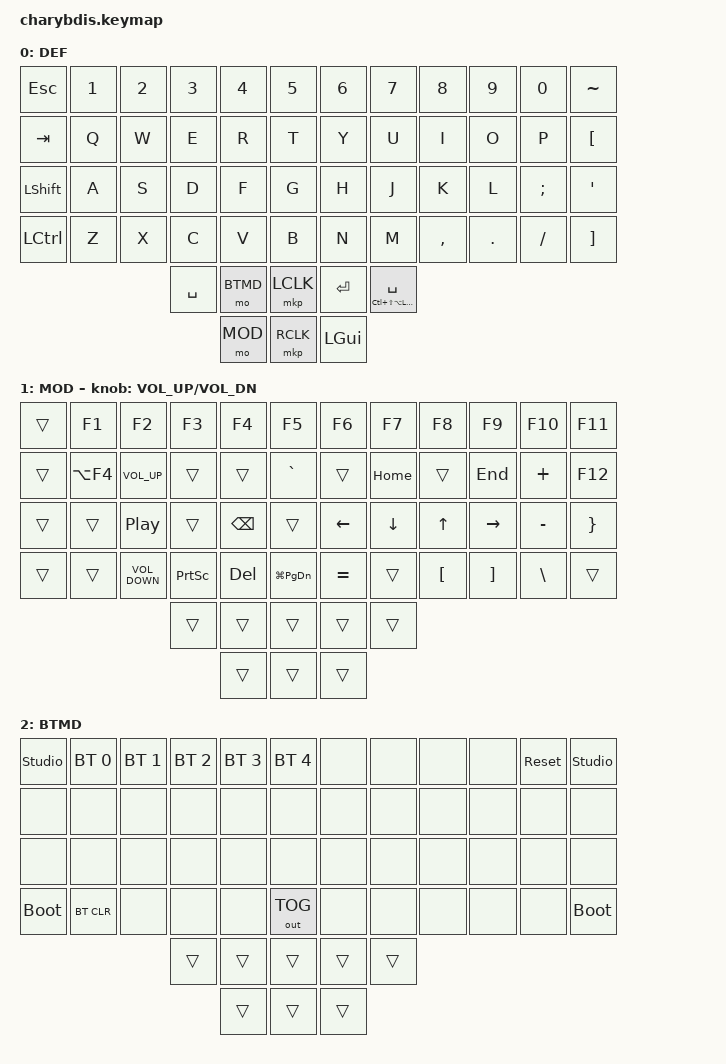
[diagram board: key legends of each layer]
#include <behaviors.dtsi>
#include <input/processors.dtsi>
#include <dt-bindings/zmk/bt.h>
#include <dt-bindings/zmk/keys.h>
#include <dt-bindings/zmk/mouse.h>
#include <dt-bindings/zmk/outputs.h>
#include <dt-bindings/zmk/input_transform.h>
#include <behaviors/mouse_keys.dtsi>
#include <dt-bindings/zmk/ext_power.h>
#include "macros.dtsi"

// / {
//     chosen { zmk,matrix_transform = &default_transform; };
// };

/ {
    /* input config for mouse move mode */
//

//  trackball_listener {
//      compatible = "zmk,input-listener";
//      device = <&trackball>;
//      //input-processors = <&zip_xy_transform (INPUT_TRANSFORM_XY_SWAP | INPUT_TRANSFORM_X_INVERT | INPUT_TRANSFORM_Y_INVERT)>;	
//      //layers = <0 2>;
//      //scale-multiplier = <1>;
//      //scale-divisor = <2>;

//      // bindings = <&ib_toggle_layer 7>;
//  };

    /* input config for snipe mode */

//
//  trackball_snipe_listener {
//      compatible = "zmk,input-behavior-listener";
//      /*device = <&trackball>;*/
//      layers = <3>;
//      evt-type = <INPUT_EV_REL>;
//      x-input-code = <INPUT_REL_X>;
//      y-input-code = <INPUT_REL_Y>;
//      scale-multiplier = <1>;
//      scale-divisor = <4>;
//  };
//

    /* input config for mouse scroll mode */

//
//  trackball_scroll_listener {
//      compatible = "zmk,input-behavior-listener";
//      /*device = <&trackball>;*/
//      layers = <1>;
//      evt-type = <INPUT_EV_REL>;
//      x-input-code = <INPUT_REL_MISC>;
//      y-input-code = <INPUT_REL_WHEEL>;
//      y-invert;
//      scale-multiplier = <1>;
//      scale-divisor = <4>;
//      bindings = <&ib_wheel_scaler 1 14>;
//  };
//

    /* define a resolution down scaler only for INPUT_REL_WHEEL */

    ib_wheel_scaler: ib_wheel_scaler {
        compatible = "zmk,input-behavior-scaler";
        #binding-cells = <2>;
        evt-type = <INPUT_EV_REL>;
        input-code = <INPUT_REL_WHEEL>;
    };

    /* adjust cooldown waiting period for mouse key layer after activated */

    ib_toggle_layer: ib_toggle_layer {
        compatible = "zmk,input-behavior-tog-layer";
        #binding-cells = <1>;
        time-to-live-ms = <750>;
    };

// Layer definitions

#define DEF 0
#define MOD 1
#define BTMD 2

// Keycodes can be found here:
// 
// https://zmk.dev/docs/keymaps/list-of-keycodes
//
// NOTES:
// &trans - transparent: expose key function for lower layer 
// &none - do nothing
// &mo: Momentary Layer
// &to: Layer Tap - switch layer on held key
// &tog: Toggle layer
// &mkp: Mouse Keypress

    keymap {
        compatible = "zmk,keymap";

        DEF {
            bindings = <
&kp ESC     &kp NUMBER_1  &kp N2  &kp N3     &kp N4  &kp N5       &kp N6     &kp N7     &kp N8     &kp N9   &kp N0     &kp TILDE
&kp TAB     &kp Q         &kp W   &kp E      &kp R   &kp T        &kp Y      &kp U      &kp I      &kp O    &kp P      &kp LEFT_BRACKET
&kp LSHIFT  &kp A         &kp S   &kp D      &kp F   &kp G        &kp H      &kp J      &kp K      &kp L    &kp SEMI   &kp APOS
&kp LCTRL   &kp Z         &kp X   &kp C      &kp V   &kp B        &kp N      &kp M      &kp COMMA  &kp DOT  &kp SLASH  &kp RIGHT_BRACKET
                                  &kp SPACE  &mo BTMD   &mkp LCLK    &kp ENTER  &mt LC(LS(LA(LGUI))) SPACE
                                             &mo MOD   &mkp RCLK    &kp LGUI
            >;
        };

        MOD {
            bindings = <
&trans  &kp F1      &kp F2             &kp F3           &kp F4         &kp F5               &kp F6     &kp F7     &kp F8    &kp F9     &kp F10          &kp F11
&trans  &kp LA(F4)  &kp C_VOLUME_UP    &trans           &trans         &kp GRAVE            &trans     &kp HOME   &trans    &kp END    &kp PLUS         &kp F12
&trans  &trans      &kp C_PLAY_PAUSE   &trans           &kp BACKSPACE  &trans               &kp LEFT   &kp DOWN   &kp UP    &kp RIGHT  &kp MINUS        &kp RIGHT_BRACE
&trans  &trans      &kp C_VOLUME_DOWN  &kp PRINTSCREEN  &kp DEL        &kp LG(PAGE_DOWN)    &kp EQUAL  &trans     &kp LBKT  &kp RBKT   &kp BACKSLASH    &trans
                                       &trans           &trans         &trans               &trans     &trans
                                                        &trans         &trans               &trans
            >;

            sensor-bindings = <&inc_dec_kp C_VOL_UP C_VOL_DN>;
        };

        BTMD {
            bindings = <
&studio_unlock      &bt BT_SEL 0  &bt BT_SEL 1  &bt BT_SEL 2  &bt BT_SEL 3  &bt BT_SEL 4    &none      &none   &none   &none   &sys_reset   &studio_unlock
&none      &none         &none         &none         &none         &none           &none      &none   &none   &none   &none   &none
&none      &none         &none         &none         &none         &none           &none      &none   &none   &none   &none   &none
&bootloader &bt BT_CLR    &none         &none         &none         &out OUT_TOG    &none      &none   &none   &none   &none   &bootloader
                                      &trans        &trans        &trans          &trans     &trans
                                                    &trans        &trans          &trans
            >;
        };
    };
};
